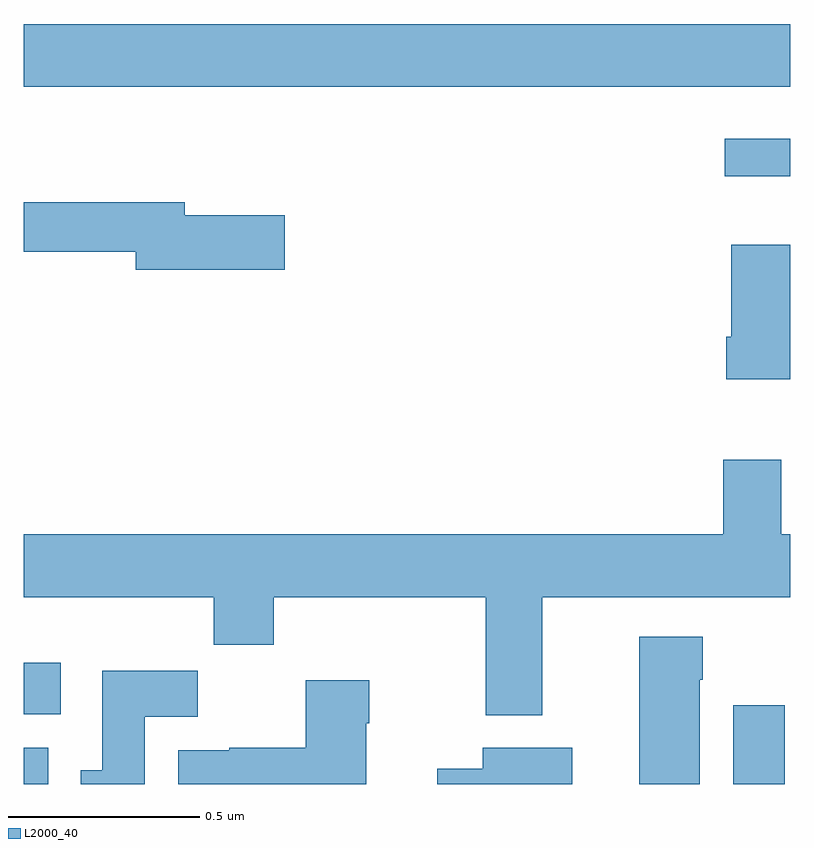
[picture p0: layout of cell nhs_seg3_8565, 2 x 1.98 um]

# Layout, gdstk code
import gdstk
lib = gdstk.Library(unit=1e-6, precision=1e-09)
def R(c, l, rs):  # rectangles x0, y0, x1, y1
    for r in rs: c.add(gdstk.rectangle(r[:2], r[2:], *l))
def P(c, l, *ps):  # polygons
    for p in ps: c.add(gdstk.Polygon(p, *l))
L2000_40 = (2000, 40)

nhs_seg3_8565 = lib.new_cell('nhs_seg3_8565')
R(nhs_seg3_8565, L2000_40, [(217,728.4,217.063,728.494), (218.852,728.4,218.986,728.605), (217,728.582,217.096,728.716), (218.829,729.987,219,730.084), (217,730.22,219,730.384)])
P(nhs_seg3_8565, L2000_40, [(217.681,729.885),(217.42,729.885),(217.42,729.919),(217,729.919),(217,729.79),(217.292,729.79),(217.292,729.743),(217.681,729.743)],
  [(219,729.808),(218.846,729.808),(218.846,729.568),(218.834,729.568),(218.834,729.456),(219,729.456)],
  [(218.353,728.888),(219,728.888),(219,729.052),(218.977,729.052),(218.977,729.247),(218.825,729.247),(218.825,729.052),(217,729.052),(217,728.888),(217.495,728.888),(217.495,728.764),(217.652,728.764),(217.652,728.888),(218.206,728.888),(218.206,728.579),(218.353,728.579)],
  [(218.764,728.672),(218.772,728.672),(218.772,728.785),(218.606,728.785),(218.606,728.4),(218.764,728.4)],
  [(217.315,728.576),(217.454,728.576),(217.454,728.695),(217.205,728.695),(217.205,728.436),(217.148,728.436),(217.148,728.4),(217.315,728.4)],
  [(217.894,728.558),(217.902,728.558),(217.902,728.671),(217.736,728.671),(217.736,728.494),(217.536,728.494),(217.536,728.488),(217.403,728.488),(217.403,728.4),(217.894,728.4)],
  [(218.431,728.494),(218.198,728.494),(218.198,728.44),(218.079,728.44),(218.079,728.4),(218.431,728.4)])

lib.write_gds('nhs_seg3_8565.gds')
